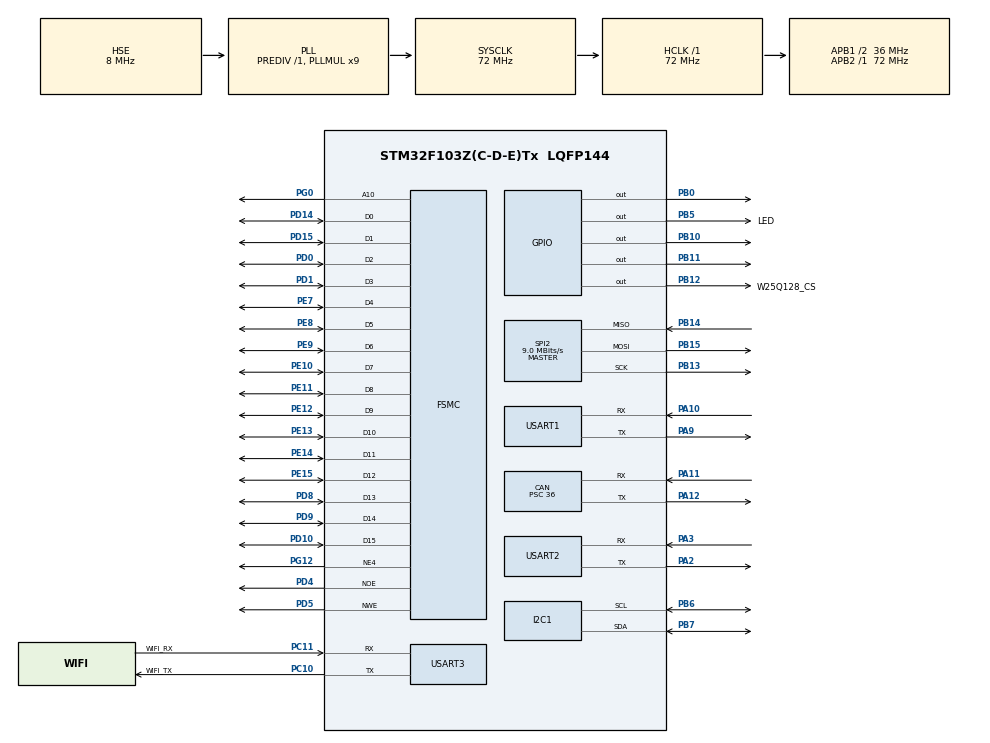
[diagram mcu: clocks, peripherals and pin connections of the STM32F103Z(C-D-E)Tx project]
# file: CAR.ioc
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CAN.ABOM=ENABLE
CAN.AWUM=ENABLE
CAN.BS1=CAN_BS1_3TQ
CAN.BS2=CAN_BS2_2TQ
CAN.CalculateBaudRate=166666
CAN.CalculateTimeBit=6000
CAN.CalculateTimeQuantum=1000.0
CAN.Mode=CAN_MODE_NORMAL
CAN.Prescaler=36
Dma.Request0=USART3_RX
Dma.USART3_RX.0.Direction=DMA_PERIPH_TO_MEMORY
Dma.USART3_RX.0.Instance=DMA1_Channel3
Dma.USART3_RX.0.MemDataAlignment=DMA_MDATAALIGN_BYTE
Dma.USART3_RX.0.MemInc=DMA_MINC_ENABLE
Dma.USART3_RX.0.Mode=DMA_NORMAL
Dma.USART3_RX.0.PeriphDataAlignment=DMA_PDATAALIGN_BYTE
Dma.USART3_RX.0.PeriphInc=DMA_PINC_DISABLE
Dma.USART3_RX.0.Priority=DMA_PRIORITY_LOW
FREERTOS.Tasks01=defaultTask,24,128,StartDefaultTask,Default,NULL,Dynamic,NULL,NULL
FREERTOS.configTOTAL_HEAP_SIZE=32000
FREERTOS.configUSE_IDLE_HOOK=1
FSMC.AddressSetupTime1=0
FSMC.BusTurnAroundDuration1=0
FSMC.DataSetupTime1=26
FSMC.ExtendedAddressSetupTime1=0
FSMC.ExtendedBusTurnAroundDuration1=0
FSMC.ExtendedDataSetupTime1=1
FSMC.ExtendedMode1=FSMC_EXTENDED_MODE_ENABLE
Mcu.Family=STM32F1
Mcu.Name=STM32F103Z(C-D-E)Tx
Mcu.Package=LQFP144
NVIC.CAN1_RX1_IRQn=true\:6\:0\:true\:false\:true\:true\:true\:true\:true
NVIC.DMA1_Channel3_IRQn=true\:5\:0\:false\:false\:true\:true\:false\:true\:true
NVIC.PriorityGroup=NVIC_PRIORITYGROUP_4
NVIC.TIM4_IRQn=true\:15\:0\:false\:false\:true\:false\:false\:true\:true
NVIC.TimeBase=TIM4_IRQn
NVIC.TimeBaseIP=TIM4
NVIC.USART1_IRQn=true\:8\:0\:true\:false\:true\:true\:true\:true\:true
NVIC.USART2_IRQn=true\:9\:0\:true\:false\:true\:true\:true\:true\:true
NVIC.USART3_IRQn=true\:6\:0\:true\:false\:true\:true\:true\:true\:true
NVIC.USB_LP_CAN1_RX0_IRQn=true\:6\:0\:true\:false\:true\:true\:true\:true\:true
OSC_IN.Mode=HSE-External-Oscillator
OSC_IN.Signal=RCC_OSC_IN
OSC_OUT.Mode=HSE-External-Oscillator
OSC_OUT.Signal=RCC_OSC_OUT
PA10.Mode=Asynchronous
PA10.Signal=USART1_RX
PA11.Mode=CAN_Activate
PA11.Signal=CAN_RX
PA12.Mode=CAN_Activate
PA12.Signal=CAN_TX
PA13.Mode=Serial_Wire
PA13.Signal=SYS_JTMS-SWDIO
PA14.Mode=Serial_Wire
PA14.Signal=SYS_JTCK-SWCLK
PA2.Mode=Asynchronous
PA2.Signal=USART2_TX
PA3.Mode=Asynchronous
PA3.Signal=USART2_RX
PA9.Mode=Asynchronous
PA9.Signal=USART1_TX
PB0.GPIO_Speed=GPIO_SPEED_FREQ_HIGH
PB0.Signal=GPIO_Output
PB10.GPIO_ModeDefaultOutputPP=GPIO_MODE_OUTPUT_OD
PB10.GPIO_PuPd=GPIO_PULLUP
PB10.GPIO_Speed=GPIO_SPEED_FREQ_HIGH
PB10.PinState=GPIO_PIN_SET
PB10.Signal=GPIO_Output
PB11.GPIO_ModeDefaultOutputPP=GPIO_MODE_OUTPUT_OD
PB11.GPIO_PuPd=GPIO_PULLUP
PB11.GPIO_Speed=GPIO_SPEED_FREQ_HIGH
PB11.Signal=GPIO_Output
PB12.GPIO_Label=W25Q128_CS
PB12.GPIO_Speed=GPIO_SPEED_FREQ_HIGH
PB12.PinState=GPIO_PIN_SET
PB12.Signal=GPIO_Output
PB13.Mode=Full_Duplex_Master
PB13.Signal=SPI2_SCK
PB14.Mode=Full_Duplex_Master
PB14.Signal=SPI2_MISO
PB15.Mode=Full_Duplex_Master
PB15.Signal=SPI2_MOSI
PB5.GPIO_Label=LED
PB5.GPIO_ModeDefaultOutputPP=GPIO_MODE_OUTPUT_PP
PB5.GPIO_PuPd=GPIO_PULLDOWN
PB5.PinState=GPIO_PIN_SET
PB5.Signal=GPIO_Output
PB6.Mode=I2C
PB6.Signal=I2C1_SCL
PB7.Mode=I2C
PB7.Signal=I2C1_SDA
PC10.GPIO_Label=WIFI_TX
PC10.Mode=Asynchronous
PC10.Signal=USART3_TX
PC11.GPIO_Label=WIFI_RX
PC11.Mode=Asynchronous
PC11.Signal=USART3_RX
PC14-OSC32_IN.Mode=LSE-External-Oscillator
PC14-OSC32_IN.Signal=RCC_OSC32_IN
PC15-OSC32_OUT.Mode=LSE-External-Oscillator
PC15-OSC32_OUT.Signal=RCC_OSC32_OUT
PD0.Signal=FSMC_D2_DA2
PD1.Signal=FSMC_D3_DA3
PD10.Signal=FSMC_D15_DA15
PD14.Signal=FSMC_D0_DA0
PD15.Signal=FSMC_D1_DA1
PD4.Signal=FSMC_NOE
PD5.Signal=FSMC_NWE
PD8.Signal=FSMC_D13_DA13
PD9.Signal=FSMC_D14_DA14
PE10.Signal=FSMC_D7_DA7
PE11.Signal=FSMC_D8_DA8
PE12.Signal=FSMC_D9_DA9
PE13.Signal=FSMC_D10_DA10
PE14.Signal=FSMC_D11_DA11
PE15.Signal=FSMC_D12_DA12
PE7.Signal=FSMC_D4_DA4
PE8.Signal=FSMC_D5_DA5
PE9.Signal=FSMC_D6_DA6
PG0.Signal=FSMC_A10
PG12.Mode=NorPsramChipSelect4_1
PG12.Signal=FSMC_NE4
ProjectManager.HeapSize=0x200
ProjectManager.StackSize=0x400
ProjectManager.TargetToolchain=MDK-ARM V5.32
RCC.AHBFreq_Value=72000000
RCC.APB1CLKDivider=RCC_HCLK_DIV2
RCC.APB1Freq_Value=36000000
RCC.APB1TimFreq_Value=72000000
RCC.APB2Freq_Value=72000000
RCC.APB2TimFreq_Value=72000000
RCC.HCLKFreq_Value=72000000
RCC.PLLMUL=RCC_PLL_MUL9
RCC.PLLSourceVirtual=RCC_PLLSOURCE_HSE
RCC.SYSCLKFreq_VALUE=72000000
RCC.SYSCLKSource=RCC_SYSCLKSOURCE_PLLCLK
RCC.USBFreq_Value=72000000
SH.FSMC_A10.0=FSMC_A10,A10_1
SH.FSMC_D0_DA0.0=FSMC_D0,16b-d1
SH.FSMC_D10_DA10.0=FSMC_D10,16b-d1
SH.FSMC_D11_DA11.0=FSMC_D11,16b-d1
SH.FSMC_D12_DA12.0=FSMC_D12,16b-d1
SH.FSMC_D13_DA13.0=FSMC_D13,16b-d1
SH.FSMC_D14_DA14.0=FSMC_D14,16b-d1
SH.FSMC_D15_DA15.0=FSMC_D15,16b-d1
SH.FSMC_D1_DA1.0=FSMC_D1,16b-d1
SH.FSMC_D2_DA2.0=FSMC_D2,16b-d1
SH.FSMC_D3_DA3.0=FSMC_D3,16b-d1
SH.FSMC_D4_DA4.0=FSMC_D4,16b-d1
SH.FSMC_D5_DA5.0=FSMC_D5,16b-d1
SH.FSMC_D6_DA6.0=FSMC_D6,16b-d1
SH.FSMC_D7_DA7.0=FSMC_D7,16b-d1
SH.FSMC_D8_DA8.0=FSMC_D8,16b-d1
SH.FSMC_D9_DA9.0=FSMC_D9,16b-d1
SH.FSMC_NOE.0=FSMC_NOE,Lcd1
SH.FSMC_NWE.0=FSMC_NWE,Lcd1
SPI2.BaudRatePrescaler=SPI_BAUDRATEPRESCALER_4
SPI2.CalculateBaudRate=9.0 MBits/s
SPI2.Direction=SPI_DIRECTION_2LINES
SPI2.Mode=SPI_MODE_MASTER
SPI2.VirtualType=VM_MASTER
USART1.VirtualMode=VM_ASYNC
USART2.VirtualMode=VM_ASYNC
USART3.VirtualMode=VM_ASYNC
VP_CRC_VS_CRC.Mode=CRC_Activate
VP_FREERTOS_VS_CMSIS_V2.Mode=CMSIS_V2
VP_SYS_VS_tim4.Mode=TIM4
board=custom

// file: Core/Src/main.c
/* USER CODE BEGIN Header */
/**
  ******************************************************************************
  * @file           : main.c
  * @brief          : Main program body
  ******************************************************************************
  * @attention
  *
  * Copyright (c) 2026 STMicroelectronics.
  * All rights reserved.
  *
  * This software is licensed under terms that can be found in the LICENSE file
  * in the root directory of this software component.
  * If no LICENSE file comes with this software, it is provided AS-IS.
  *
  ******************************************************************************
  */
/* USER CODE END Header */
#include "main.h"
#include "cmsis_os.h"
#include "can.h"
#include "crc.h"
#include "dma.h"
#include "i2c.h"
#include "spi.h"
#include "usart.h"
#include "gpio.h"
//#include "fsmc.h"

/* USER CODE BEGIN Includes */
//#include "OLED.h"
#include "platform_esp8266_AT.h"
#include "lvgl.h"

#include <string.h>
/* USER CODE END Includes */

void SystemClock_Config(void);
void MX_FREERTOS_Init(void);

int main(void)
{

  /* USER CODE BEGIN 1 */
	/* __enable_irq()  */
  /* USER CODE END 1 */

  /* MCU Configuration--------------------------------------------------------*/

  /* Reset of all peripherals, Initializes the Flash interface and the Systick. */
  HAL_Init();

  /* Configure the system clock */
  SystemClock_Config();

  /* Initialize all configured peripherals */
  MX_GPIO_Init();
  MX_DMA_Init();
  MX_CAN_Init();
  MX_USART3_UART_Init();
  MX_USART1_UART_Init();
  MX_USART2_UART_Init();
  //MX_FSMC_Init(); /*与硬件IIC1冲突*/
  MX_I2C1_Init();
  MX_SPI2_Init();
  MX_CRC_Init();
  /* USER CODE BEGIN 2 */

  //OLED_Init();
  HAL_CAN_Start(&hcan);
  CAN_FilterConfig();

  /* USER CODE END 2 */

  /* Init scheduler */
  osKernelInitialize();  /* Call init function for freertos objects (in cmsis_os2.c) */
  MX_FREERTOS_Init();

  /* Start scheduler */
  osKernelStart();

  /* We should never get here as control is now taken by the scheduler */

  /* Infinite loop */
  while (1)
  {

  }
}

void SystemClock_Config(void)
{
  RCC_OscInitTypeDef RCC_OscInitStruct = {0};
  RCC_ClkInitTypeDef RCC_ClkInitStruct = {0};

  /** Initializes the RCC Oscillators according to the specified parameters
  * in the RCC_OscInitTypeDef structure.
  */
  RCC_OscInitStruct.OscillatorType = RCC_OSCILLATORTYPE_HSE;
  RCC_OscInitStruct.HSEState = RCC_HSE_ON;
  RCC_OscInitStruct.HSEPredivValue = RCC_HSE_PREDIV_DIV1;
  RCC_OscInitStruct.HSIState = RCC_HSI_ON;
  RCC_OscInitStruct.PLL.PLLState = RCC_PLL_ON;
  RCC_OscInitStruct.PLL.PLLSource = RCC_PLLSOURCE_HSE;
  RCC_OscInitStruct.PLL.PLLMUL = RCC_PLL_MUL9;
  if (HAL_RCC_OscConfig(&RCC_OscInitStruct) != HAL_OK)
  {
    Error_Handler();
  }

  /** Initializes the CPU, AHB and APB buses clocks
  */
  RCC_ClkInitStruct.ClockType = RCC_CLOCKTYPE_HCLK|RCC_CLOCKTYPE_SYSCLK
                              |RCC_CLOCKTYPE_PCLK1|RCC_CLOCKTYPE_PCLK2;
  RCC_ClkInitStruct.SYSCLKSource = RCC_SYSCLKSOURCE_PLLCLK;
  RCC_ClkInitStruct.AHBCLKDivider = RCC_SYSCLK_DIV1;
  RCC_ClkInitStruct.APB1CLKDivider = RCC_HCLK_DIV2;
  RCC_ClkInitStruct.APB2CLKDivider = RCC_HCLK_DIV1;

  if (HAL_RCC_ClockConfig(&RCC_ClkInitStruct, FLASH_LATENCY_2) != HAL_OK)
  {
    Error_Handler();
  }
}

void HAL_TIM_PeriodElapsedCallback(TIM_HandleTypeDef *htim)
{
  if (htim->Instance == TIM4)
  {
    HAL_IncTick();
  }
  /* USER CODE BEGIN Callback 1 */
    if (htim->Instance == TIM4)
  {
    /* Inform LVGL about a millisecond tick */
    lv_tick_inc(1);
  }

  /* USER CODE END Callback 1 */
}

void Error_Handler(void)
{
  __disable_irq();
  while (1)
  {
  }
}

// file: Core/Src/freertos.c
/* USER CODE BEGIN Header */
/**
  ******************************************************************************
  * File Name          : freertos.c
  * Description        : Code for freertos applications
  ******************************************************************************
  * @attention
  *
  * Copyright (c) 2026 STMicroelectronics.
  * All rights reserved.
  *
  * This software is licensed under terms that can be found in the LICENSE file
  * in the root directory of this software component.
  * If no LICENSE file comes with this software, it is provided AS-IS.
  *
  ******************************************************************************
  */
/* USER CODE END Header */

#include "FreeRTOS.h"
#include "task.h"
#include "main.h"
#include "cmsis_os.h"

/* USER CODE BEGIN Includes */
#include "stm32f1xx_hal.h"
#include "can.h"
#include "usart.h"
#include "string.h"
#include "queue.h"
#include "platform_esp8266_AT.h"
#include "mqtt_config.h"
#include "mqtt_log.h"
#include "mqttclient.h"
#include "app_update.h"
#include "semphr.h"
#include "demo.h"
#include "lvgl.h"
#include "lv_port_lcd_stm32.h"
#include "lv_port_indev.h"
#include "atk_md0280.h"
#include "ui.h"
/* USER CODE END Includes */

/* USER CODE BEGIN PM */
void can_task(void * pvParameters );
void MQTT_Task(void*parm);
void voice_task(void * pvParameters );
void lvgl_demo_task(void * pvParameters );
void ota_task(void *param);
/* USER CODE END PM */

/* USER CODE BEGIN Variables */
TaskHandle_t  can_handler;

TaskHandle_t  voice_handler;
TaskHandle_t AT_pars_handle;//AT指令分析任务句柄

TaskHandle_t ota_task_handle;
TaskHandle_t mqtt_handler;
SemaphoreHandle_t ota_sem;

TaskHandle_t lvgl_demo_handler;//lvgl_demo任务句柄

QueueHandle_t can_rx_queue;
QueueHandle_t mqtt_can_rx_queue;//服务器接收can消息
QueueHandle_t voice_rx_queue;
QueueHandle_t lvgl_can_rx_queue; // LVGL接收can消息
extern uint8_t g_uart3_rx_char;   //串口3接收数据变量
extern uint8_t g_uart2_rx_char[4];//串口2接收数据变量

mqtt_client_t *client = NULL; //mqtt
/* USER CODE END Variables */
/* Definitions for defaultTask */
osThreadId_t defaultTaskHandle;
const osThreadAttr_t defaultTask_attributes = {
  .name = "defaultTask",
  .stack_size = 128 * 4,
  .priority = (osPriority_t) osPriorityNormal,
};

void StartDefaultTask(void *argument);

void MX_FREERTOS_Init(void); /* (MISRA C 2004 rule 8.1) */

/* Hook prototypes */
void vApplicationIdleHook(void);

/* USER CODE BEGIN 2 */
//static char g_task_infor[200];
//void vApplicationIdleHook(void)
//{
//	vTaskList(g_task_infor);
//		for(int i = 0 ;i<16;i++)
//	{
//		printf("-");
//	}
//	printf("\n\r\n\r");
//	printf("%s\n\r",g_task_infor);
//}
/* USER CODE END 2 */

void MX_FREERTOS_Init(void) {
  /* USER CODE BEGIN Init */
	AT_Init();//AT命令相关程序初始化
  /* USER CODE END Init */

  /* Create the thread(s) */
  /* creation of defaultTask */
  defaultTaskHandle = osThreadNew(StartDefaultTask, NULL, &defaultTask_attributes);

}

void StartDefaultTask(void *argument)
{
  /* USER CODE BEGIN StartDefaultTask */
  BaseType_t ret;
	 // 进入临界区
  taskENTER_CRITICAL();
	ret = xTaskCreate(can_task,"can_task",128,NULL,13,&can_handler);
  if(ret != pdPASS)
  {
     printf("can_task create failed!\r\n");
  }
  ret = xTaskCreate(lvgl_demo_task,"lvgl_demo",1536,NULL,14,&lvgl_demo_handler);
  if(ret != pdPASS)
  {
     printf("lvgl_demo_task create failed!\r\n");
  }
  ret = xTaskCreate(AT_Parse,"AT_parse",68,NULL,15,&AT_pars_handle);
  if(ret != pdPASS)
  {
     printf("AT_parse create failed!\r\n");
  }
	ret = xTaskCreate(MQTT_Task,"MQTT_Task",200,NULL,15,&mqtt_handler);
  if(ret != pdPASS)
  {
     printf("MQTT_Task create failed!\r\n");
  }
	xTaskCreate(voice_task,"voice_task",128,NULL,14,&voice_handler);
	ota_sem = xSemaphoreCreateBinary();
	xTaskCreate(ota_task,"ota_task",256,NULL,20,&ota_task_handle);

	can_rx_queue = xQueueCreate(5, sizeof(CanMsg_t));
  mqtt_can_rx_queue = xQueueCreate(5, sizeof(CanMsg_t)); //在can接收中断队列
	voice_rx_queue = xQueueCreate(5, sizeof(uint8_t));
	lvgl_can_rx_queue = xQueueCreate(5, sizeof(CanMsg_t)); // LVGL接收队列
   // 退出临界区
  taskEXIT_CRITICAL();
	vTaskDelete(NULL);
  /* Infinite loop */
  for(;;)
  {
    osDelay(1);
  }
  /* USER CODE END StartDefaultTask */
}

/* USER CODE BEGIN Application */

void can_task(void * pvParameters )
{
  printf("send test ...\r\n");
	// 发送报文
//	uint32_t stdID = 0x77f;
//	uint16_t stdID2 =0x768;
//	uint8_t * data = "abdc";
//  uint8_t * data2 = "111";
//	// 定义发送数据缓冲区，在基本信息的基础上拼接一个数字
//	uint8_t buffer[10] ={0} ;
//	uint32_t i = 10;
	while(1)
	{
    // 拼接要发送的报文信息
		HAL_GPIO_TogglePin(GPIOB, GPIO_PIN_5);
		//CAN_SendMsg(stdID, data, strlen((char *)data));
		//CAN_SendMsg(stdID2, data2, strlen((char *)data2));
		//printf("send ok...\r\n");
		// 每隔1s发送一次报文
		  vTaskDelay(100);
	}
}

void voice_task(void * pvParameters ) //can_tx
{
	uint16_t stdID = 0x77f;
	uint16_t stdID2 = 0X7bf;
	uint8_t pdata[3]={0xaa,0x11,0};
	uint8_t data=0;
	  /*开中断*/
  __HAL_UART_CLEAR_OREFLAG(&huart2);
  HAL_UART_Receive_IT(&huart2,g_uart2_rx_char, 4);
	while(1)
	{
		while((xQueueReceive( voice_rx_queue,&data ,portMAX_DELAY) != pdPASS));
		pdata[2]=data;
		if(pdata[2]==0x01|pdata[2]==0x02|pdata[2]==0x03|pdata[2]==0x04|pdata[2]==0x05|pdata[2]==0x06)
		{
			CAN_SendMsg(stdID, pdata, strlen((char *)pdata));
		}
		else if(pdata[2]==0x07|pdata[2]==0x08)
		{
			CAN_SendMsg(stdID2, pdata, strlen((char *)pdata));
		}
			//vTaskDelay(1000);
	}
}

static void MQTTSmart_handler(void* client, message_data_t* msg)
{
	uint16_t stdID = 0x77f;
	uint16_t stdID2 = 0X7bf;
	uint8_t pdata[3]={0xaa,0x11,0};
	(void) client;
	MQTT_LOG_I("-----------------------------------------------------------------------------------");
	MQTT_LOG_I("%s:%d %s()...\ntopic: %s\nmessage:%s", __FILE__, __LINE__, __FUNCTION__, msg->topic_name, (char*)msg->message->payload);
	MQTT_LOG_I("-----------------------------------------------------------------------------------");
	/*消息处理函数 eg.{led_on}*/
	if(strstr((char*)msg->message->payload,"打开车门"))
	{
		pdata[2]=0x07;
		CAN_SendMsg(stdID2, pdata, strlen((char *)pdata));
	}
	else if(strstr((char*)msg->message->payload,"关闭车门"))
	{
		pdata[2]=0x08;
		CAN_SendMsg(stdID2, pdata, strlen((char *)pdata));
	}
	else if(strstr((char*)msg->message->payload,"打开车灯"))
	{
		pdata[2]=0x01;
		CAN_SendMsg(stdID, pdata, strlen((char *)pdata));
	}
	else if(strstr((char*)msg->message->payload,"关闭车灯"))
	{
		pdata[2]=0x02;
		CAN_SendMsg(stdID, pdata, strlen((char *)pdata));
	}
	else if(strstr((char*)msg->message->payload,"打开车窗"))
	{
		pdata[2]=0x03;
		CAN_SendMsg(stdID, pdata, strlen((char *)pdata));
	}
	else if(strstr((char*)msg->message->payload,"关闭车窗"))
	{
		pdata[2]=0x04;
		CAN_SendMsg(stdID, pdata, strlen((char *)pdata));
	}
	else if(strstr((char*)msg->message->payload,"打开天窗"))
	{
		pdata[2]=0x05;
		CAN_SendMsg(stdID, pdata, strlen((char *)pdata));
	}
	else if(strstr((char*)msg->message->payload,"关闭天窗"))
	{
		pdata[2]=0x06;
		CAN_SendMsg(stdID, pdata, strlen((char *)pdata));
	}
}

void MQTT_Task(void*parm)
{
    int res;

    printf("\nwelcome to mqttclient test...\r\n");

		HAL_UART_Receive_DMA(&huart3,&g_uart3_rx_char, 1); //开dma中断

    mqtt_log_init();

    client = mqtt_lease();
	mqtt_set_port(client, "1883");  //修改服务器端口

    mqtt_set_host(client, "192.168.101.34");  //修改服务器IP
    mqtt_set_client_id(client, random_string(10));
    mqtt_set_user_name(client, random_string(10));
    mqtt_set_password(client, random_string(10));
    mqtt_set_clean_session(client, 1);

    res = mqtt_connect(client);
		if(MQTT_SUCCESS_ERROR != res)
		{
			printf("MQTT Broker connect failed\r\n");
		}

    res =mqtt_subscribe(client, "MQTTSmart", QOS0, MQTTSmart_handler);
    if(MQTT_SUCCESS_ERROR != res)
		{
			printf("MQTT Broker subscribe topic1 failed\r\n");
		}

    CanMsg_t msg;
	mqtt_message_t mqtt_msg;
	mqtt_msg.qos = 0;

		while(1)
		{
			while(xQueueReceive(mqtt_can_rx_queue, &msg, portMAX_DELAY) != pdPASS);
			if(msg.stdID==0x666)
			{
				if(msg.data[2]==0x01)
				{
					mqtt_msg.payload = "车灯：开启\r\n";
					mqtt_msg.payloadlen = strlen(mqtt_msg.payload);
					mqtt_publish(client, "mcu_test", &mqtt_msg);
				}
				else if(msg.data[2]==0x02)
				{
					mqtt_msg.payload = "车灯：关闭\r\n";
					mqtt_msg.payloadlen = strlen(mqtt_msg.payload);
					mqtt_publish(client, "mcu_test", &mqtt_msg);
				}
				else if(msg.data[2]==0x03)
				{
					mqtt_msg.payload = "车窗：开启\r\n";
					mqtt_msg.payloadlen = strlen(mqtt_msg.payload);
					mqtt_publish(client, "mcu_test", &mqtt_msg);
				}
				else if(msg.data[2]==0x04)
				{
					mqtt_msg.payload = "车窗：关闭\r\n";
					mqtt_msg.payloadlen = strlen(mqtt_msg.payload);
					mqtt_publish(client, "mcu_test", &mqtt_msg);
				}
				else if(msg.data[2]==0x05)
				{
					mqtt_msg.payload = "天窗：开启\r\n";
					mqtt_msg.payloadlen = strlen(mqtt_msg.payload);
					mqtt_publish(client, "mcu_test", &mqtt_msg);
				}
				else if(msg.data[2]==0x06)
				{
					mqtt_msg.payload = "天窗：关闭\r\n";
					mqtt_msg.payloadlen = strlen(mqtt_msg.payload);
					mqtt_publish(client, "mcu_test", &mqtt_msg);
				}
			}
			else if(msg.stdID==0x555)
			{
				if(msg.data[2]==0x07)
				{
					mqtt_msg.payload = "车门：开启\r\n";
					mqtt_msg.payloadlen = strlen(mqtt_msg.payload);
					mqtt_publish(client, "mcu_test", &mqtt_msg);
				}
				else if(msg.data[2]==0x08)
				{
					mqtt_msg.payload = "车门：关闭\r\n";
					mqtt_msg.payloadlen = strlen(mqtt_msg.payload);
					mqtt_publish(client, "mcu_test", &mqtt_msg);
				}
			}
//			mqtt_publish(client, "mcu_test", &msg);
			// vTaskDelay(3000);
		}
}

void ota_task(void *param)
{
    // 阻塞等待信号量，由 USART1 中断唤醒
    xSemaphoreTake(ota_sem, portMAX_DELAY);
    printf("OTA task woken up!\r\n");
    // 被唤醒后，挂起所有其他任务
    printf("OTA: suspending tasks...\r\n");
	//关闭mqtt连接
	  mqtt_disconnect(client);
    if (AT_pars_handle) vTaskSuspend(AT_pars_handle);
    if (mqtt_handler)   vTaskSuspend(mqtt_handler);
		if(client->mqtt_thread->thread) vTaskSuspend(client->mqtt_thread->thread); //挂起mqtt线程
    if (voice_handler)  vTaskSuspend(voice_handler);
    if (can_handler)    vTaskSuspend(can_handler);
	if (lvgl_demo_handler) vTaskSuspend(lvgl_demo_handler);
    printf("OTA: all tasks suspended\r\n");
	/* 释放 FSMC 总线资源，确保 OTA 更新过程中 I2C 不会冲突 */
	fsmc_deinit_for_i2c();
	/* 挂起其他任务中断*/
	HAL_NVIC_DisableIRQ(USART2_IRQn);
	HAL_NVIC_DisableIRQ(USART3_IRQn);

    // 等待 100ms，让被挂起的任务完成当前操作
    vTaskDelay(pdMS_TO_TICKS(100));

    // 初始化 OTA 模块
    App_update_init();
    printf("OTA: init done, starting state machine\r\n");

    // 运行 OTA 状态机（1ms 轮询，中断驱动接收不会丢包）
    while (1)
    {
        App_update_work();
        vTaskDelay(pdMS_TO_TICKS(1));
    }
}

/**
 * @brief LVGL demo task: initializes LVGL and runs the widgets demo
 * @param pvParameters Not used
 */
void lvgl_demo_task(void *pvParameters)
{
    uint8_t ret;
    CanMsg_t can_msg;

    /* 1. Initialize ATK-MD0280 LCD hardware (FSMC + touch calibration) */
    ret = atk_md0280_init();
    if (ret != ATK_MD0280_EOK)
    {
        printf("ATK-MD0280 init failed!\r\n");
        while (1)
        {
            vTaskDelay(1000);
        }
    }
    printf("ATK-MD0280 initialized OK\r\n");

    /* 2. Initialize LVGL core */
    lv_init();

    /* 3. Initialize LCD display port */
    lv_port_disp_init();

    /* 4. Initialize touch input port */
    lv_port_indev_init();

    /* 5. Create UI */
    ui_init();
    printf("LVGL UI started\r\n");

    /* 6. Main loop: call LVGL timer handler and process CAN messages */
    while (1)
    {
        /* Check for CAN messages (non-blocking) */
        if (xQueueReceive(lvgl_can_rx_queue, &can_msg, 0) == pdPASS)
        {
            /* Parse CAN message from nodes */
            if (can_msg.stdID == 0x666 || can_msg.stdID == 0x555)
            {
                /* Verify header bytes: {0x13, 0x24, cmd, extra} */
                if (can_msg.data[0] == 0x13 && can_msg.data[1] == 0x24)
                {
                    uint8_t cmd = can_msg.data[2];
                    bool active = false;

                    /* Determine state: odd cmd = ON, even cmd = OFF */
                    if (cmd == 0x01 || cmd == 0x03 || cmd == 0x05 || cmd == 0x07) {
                        active = true;
                    }

                    /* Update UI */
                    ui_update_status(cmd, active);
                }
            }
        }

        /* LVGL timer handler must be called regularly (every few ms) */
        lv_timer_handler();
        vTaskDelay(pdMS_TO_TICKS(5));
    }
}

/* USER CODE END Application */
